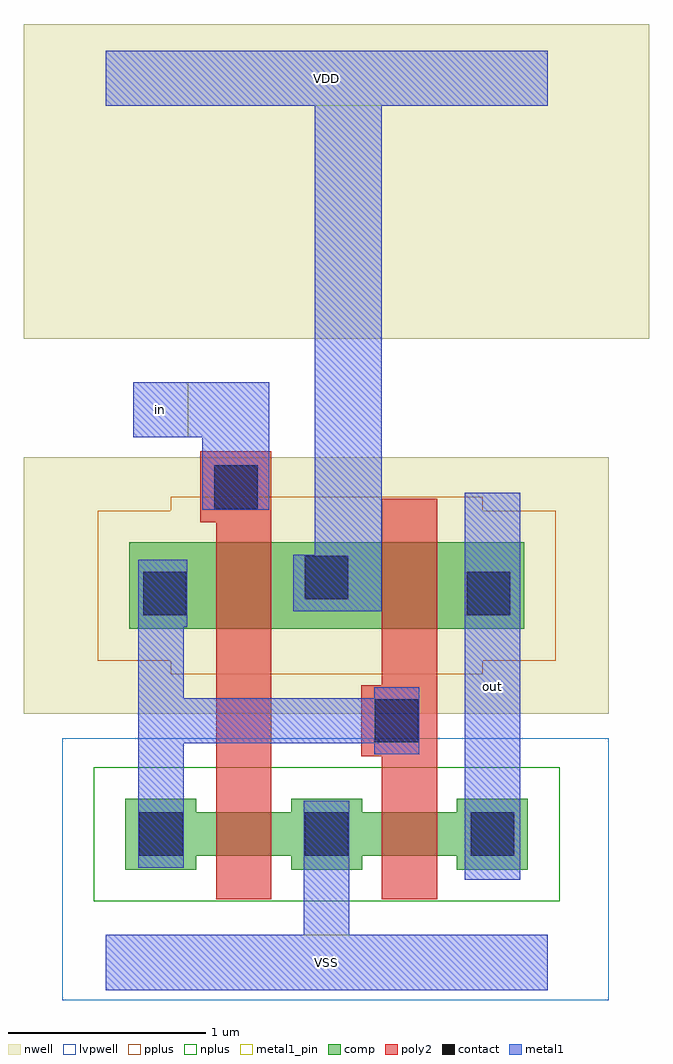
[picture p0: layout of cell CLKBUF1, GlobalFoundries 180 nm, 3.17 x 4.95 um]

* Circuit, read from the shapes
.subckt CLKBUF1 VDD VSS in out
XM1 VSS in n1 VSUBS nfet_03v3 w=0.22u l=0.28u
XM2 out n1 VSS VSUBS nfet_03v3 w=0.22u l=0.28u
XM3 VDD in n1 n2 pfet_03v3 w=0.44u l=0.28u
XM4 out n1 VDD n2 pfet_03v3 w=0.44u l=0.28u
.ends

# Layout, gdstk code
import gdstk
lib = gdstk.Library(unit=1e-6, precision=1e-09)
def R(c, l, rs):  # rectangles x0, y0, x1, y1
    for r in rs: c.add(gdstk.rectangle(r[:2], r[2:], *l))
def A(c, l, x, y, w, h, nx, ny, dx, dy):  # array of equal rectangles
    R(c, l, [(x+i*dx, y+j*dy, x+i*dx+w, y+j*dy+h) for i in range(nx) for j in range(ny)])
nwell = (21, 0)
comp = (22, 0)
poly2 = (30, 0)
pplus = (31, 0)
nplus = (32, 0)
contact = (33, 0)
metal1 = (34, 0)
metal1_pin = (34, 10)
lvpwell = (204, 0)

clkbuf1 = lib.new_cell('CLKBUF1')
R(clkbuf1, nwell, [(-0.415,1.26,2.55,2.56), (-0.415,3.16,2.755,4.755)])
A(clkbuf1, comp, 0.1, 0.47, 0.36, 0.07, 3, 2, 0.84, 0.29)
R(clkbuf1, comp, [(0.1,0.54,2.14,0.76), (0.12,1.69,2.12,2.13)])
R(clkbuf1, poly2, [(0.56,0.32,0.84,2.23), (1.4,0.32,1.68,1.045), (1.295,1.045,1.68,1.405), (1.4,1.405,1.68,2.35), (0.48,2.23,0.84,2.59)])
R(clkbuf1, pplus, [(0.33,1.46,1.91,1.53), (-0.04,1.53,2.28,2.29), (0.33,2.29,1.91,2.36)])
R(clkbuf1, nplus, [(-0.06,0.31,2.3,0.99)])
A(clkbuf1, contact, 0.17, 0.54, 0.22, 0.22, 3, 1, 0.84, 0)
R(clkbuf1, contact, [(1.365,1.115,1.585,1.335), (0.19,1.76,0.41,1.98), (1.83,1.76,2.05,1.98), (1.01,1.84,1.23,2.06), (0.55,2.3,0.77,2.52)])
R(clkbuf1, metal1, [(0,-0.14,2.24,0.14), (1.005,0.14,1.235,0.82), (1.82,0.42,2.1,2.38), (0.165,0.48,0.395,1.11), (1.36,1.055,1.59,1.11), (0.165,1.11,1.59,1.34), (0.165,1.34,0.395,1.7), (1.36,1.34,1.59,1.395), (0.165,1.7,0.415,2.04), (0.95,1.78,1.4,2.065), (1.06,2.065,1.4,4.34), (0.49,2.295,0.83,2.66), (0.14,2.66,0.83,2.94), (0,4.34,2.24,4.62)])
R(clkbuf1, metal1_pin, [(0,-0.14,2.24,0.14), (1.82,0.42,2.1,2.38), (0.14,2.66,0.42,2.94), (0,4.34,2.24,4.62)])
R(clkbuf1, lvpwell, [(-0.22,-0.19,2.55,1.11), (-0.22,1.11,1.36,1.135), (1.385,1.11,2.55,1.135)])
clkbuf1.add(gdstk.Label('VSS', (1.12,0), layer=34, texttype=10))
clkbuf1.add(gdstk.Label('out', (1.96,1.4), layer=34, texttype=10))
clkbuf1.add(gdstk.Label('VDD', (1.12,4.48), layer=34, texttype=10))
clkbuf1.add(gdstk.Label('in', (0.28,2.8), layer=34, texttype=10))

lib.write_gds('CLKBUF1.gds')
